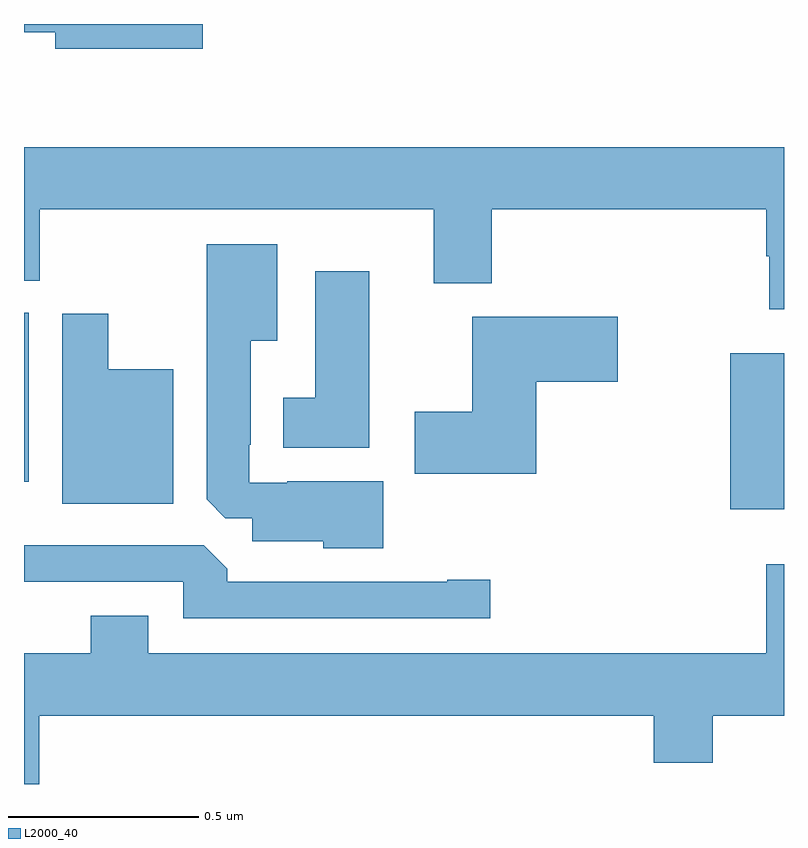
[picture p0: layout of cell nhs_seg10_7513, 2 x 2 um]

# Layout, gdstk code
import gdstk
lib = gdstk.Library(unit=1e-6, precision=1e-09)
def R(c, l, rs):  # rectangles x0, y0, x1, y1
    for r in rs: c.add(gdstk.rectangle(r[:2], r[2:], *l))
def P(c, l, *ps):  # polygons
    for p in ps: c.add(gdstk.Polygon(p, *l))
L2000_40 = (2000, 40)

nhs_seg10_7513 = lib.new_cell('nhs_seg10_7513')
R(nhs_seg10_7513, L2000_40, [(206.858,1270.223,207,1270.633), (205,1270.296,205.012,1270.74)])
P(nhs_seg10_7513, L2000_40, [(205.471,1271.5),(205,1271.5),(205,1271.478),(205.082,1271.478),(205.082,1271.435),(205.471,1271.435)],
  [(207,1271.176),(205,1271.176),(205,1270.825),(205.041,1270.825),(205.041,1271.012),(206.078,1271.012),(206.078,1270.818),(206.231,1270.818),(206.231,1271.012),(206.953,1271.012),(206.953,1270.889),(206.961,1270.889),(206.961,1270.749),(207,1270.749)],
  [(205.945,1270.297),(205.693,1270.297),(205.693,1270.293),(205.593,1270.293),(205.593,1270.393),(205.597,1270.393),(205.597,1270.667),(205.666,1270.667),(205.666,1270.921),(205.481,1270.921),(205.481,1270.249),(205.53,1270.2),(205.601,1270.2),(205.601,1270.139),(205.788,1270.139),(205.788,1270.121),(205.945,1270.121)],
  [(205.909,1270.849),(205.766,1270.849),(205.766,1270.516),(205.682,1270.516),(205.682,1270.385),(205.909,1270.385)],
  [(205.393,1270.591),(205.222,1270.591),(205.222,1270.738),(205.1,1270.738),(205.1,1270.238),(205.393,1270.238)],
  [(206.348,1270.559),(206.563,1270.559),(206.563,1270.729),(206.18,1270.729),(206.18,1270.479),(206.028,1270.479),(206.028,1270.316),(206.348,1270.316)],
  [(206.227,1270.037),(206.114,1270.037),(206.114,1270.032),(205.535,1270.032),(205.535,1270.066),(205.473,1270.128),(205,1270.128),(205,1270.032),(205.419,1270.032),(205.419,1269.936),(206.227,1269.936)],
  [(205.04,1269.68),(206.657,1269.68),(206.657,1269.556),(206.813,1269.556),(206.813,1269.68),(207,1269.68),(207,1270.078),(206.953,1270.078),(206.953,1269.844),(205.327,1269.844),(205.327,1269.943),(205.175,1269.943),(205.175,1269.844),(205,1269.844),(205,1269.5),(205.04,1269.5)])

lib.write_gds('nhs_seg10_7513.gds')
